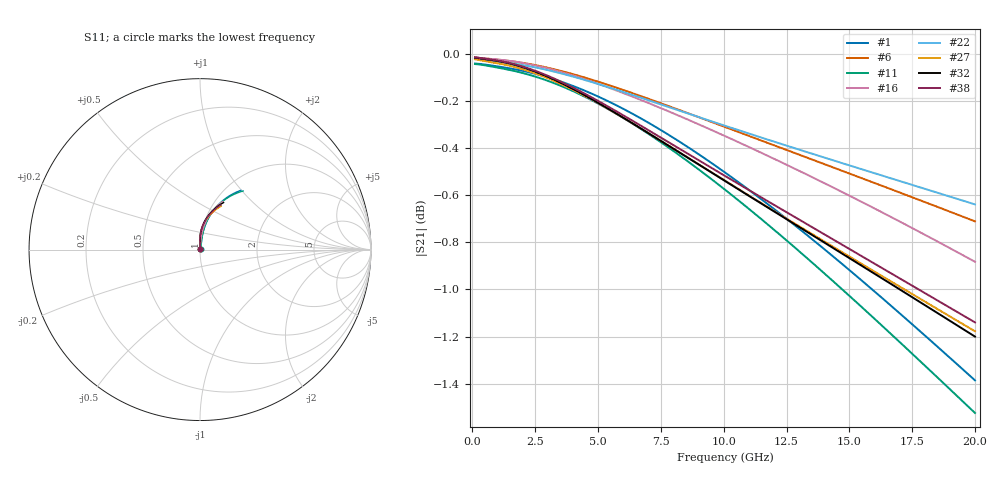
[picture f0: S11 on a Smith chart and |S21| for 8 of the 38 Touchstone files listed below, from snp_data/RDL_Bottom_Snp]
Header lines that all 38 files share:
! Touchstone file exported from HFSS 2024.1.0
!  Design:  RDL_bottom
!  Setup:  Setup1
!  Solution:  Sweep
! Variables:
# GHz S MA R 50.000000
! Terminal data exported
! Port[1] = RDL1_T1
! Port[2] = RDL1_T2
Fixed: dtsv = 10.80580581um, hbump = 3um, lrdl = 100um, p = 40, rhole = 1um, t = 450um, trdl = 3.915915916um, wrdl = 20um
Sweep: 100 MHz to 20 GHz
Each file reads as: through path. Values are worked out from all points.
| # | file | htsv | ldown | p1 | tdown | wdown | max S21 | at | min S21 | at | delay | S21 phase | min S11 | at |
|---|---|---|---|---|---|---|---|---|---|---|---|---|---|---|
| 1 | dut3.s2p | 95.61um | 477.76um | 50.18um | 2.33um | 15.85um | -0.04 dB | 100 MHz | -1.4 dB | 20 GHz | 5.32 ps | -21 deg at 10.1 GHz | -45.4 dB | 100 MHz |
| 2 | dut4.s2p | 79.47um | 307.42um | 41.59um | 4.23um | 26.47um | -0.01 dB | 100 MHz | -0.5 dB | 20 GHz | 2.68 ps | -11 deg at 10.1 GHz | -57.2 dB | 100 MHz |
| 3 | dut7.s2p | 76.53um | 291.84um | 52.63um | 4.28um | 15.7um | -0.01 dB | 100 MHz | -0.7 dB | 20 GHz | 3.41 ps | -13 deg at 10.1 GHz | -52.9 dB | 100 MHz |
| 4 | dut8.s2p | 51.77um | 590.67um | 46.14um | 3.72um | 20.41um | -0.03 dB | 100 MHz | -1.4 dB | 20 GHz | 5.59 ps | -23 deg at 10.1 GHz | -49.0 dB | 100 MHz |
| 5 | dut12.s2p | 58.84um | 289.03um | 48.35um | 3.14um | 26.82um | -0.01 dB | 100 MHz | -0.5 dB | 20 GHz | 2.84 ps | -11 deg at 10.1 GHz | -55.3 dB | 100 MHz |
| 6 | dut13.s2p | 82.07um | 397.13um | 42.22um | 3.82um | 22.02um | -0.02 dB | 100 MHz | -0.7 dB | 20 GHz | 3.71 ps | -15 deg at 10.1 GHz | -53.0 dB | 100 MHz |
| 7 | dut15.s2p | 95.03um | 154.17um | 56.61um | 3.28um | 28.14um | -0.01 dB | 100 MHz | -0.3 dB | 20 GHz | 1.86 ps | -7 deg at 10.1 GHz | -59.3 dB | 100 MHz |
| 8 | dut16.s2p | 78.53um | 683.56um | 44.62um | 4.55um | 22.1um | -0.02 dB | 100 MHz | -1.5 dB | 20 GHz | 6.12 ps | -25 deg at 10.1 GHz | -49.8 dB | 100 MHz |
| 9 | dut17.s2p | 60.17um | 460.31um | 48.93um | 3.08um | 17.78um | -0.03 dB | 100 MHz | -1.2 dB | 20 GHz | 4.86 ps | -19 deg at 10.1 GHz | -48.5 dB | 100 MHz |
| 10 | dut18.s2p | 82.72um | 359.58um | 55.38um | 4.34um | 16.92um | -0.02 dB | 100 MHz | -0.9 dB | 20 GHz | 4.09 ps | -16 deg at 10.1 GHz | -51.7 dB | 100 MHz |
| 11 | dut24.s2p | 53.6um | 545.7um | 48.59um | 2.27um | 17.66um | -0.04 dB | 100 MHz | -1.5 dB | 20 GHz | 5.71 ps | -23 deg at 10.1 GHz | -45.0 dB | 100 MHz |
| 12 | dut26.s2p | 84.31um | 597.89um | 56.9um | 3.21um | 26.65um | -0.02 dB | 100 MHz | -1.5 dB | 20 GHz | 5.9 ps | -24 deg at 10.1 GHz | -49.6 dB | 100 MHz |
| 13 | dut34.s2p | 96.11um | 388.67um | 47.12um | 4.14um | 26.48um | -0.01 dB | 100 MHz | -0.7 dB | 20 GHz | 3.61 ps | -14 deg at 10.1 GHz | -55.0 dB | 100 MHz |
| 14 | dut44.s2p | 85.36um | 638.38um | 42.18um | 2.3um | 16.31um | -0.05 dB | 100 MHz | -1.7 dB | 20 GHz | 6.31 ps | -25 deg at 10.1 GHz | -43.4 dB | 100 MHz |
| 15 | dut45.s2p | 62.92um | 485.28um | 56.4um | 3.68um | 29.08um | -0.02 dB | 100 MHz | -1.1 dB | 20 GHz | 4.69 ps | -19 deg at 10.1 GHz | -52.8 dB | 100 MHz |
| 16 | dut48.s2p | 65.89um | 411.23um | 46.72um | 4.68um | 17.75um | -0.02 dB | 100 MHz | -0.9 dB | 20 GHz | 4.16 ps | -16 deg at 10.1 GHz | -52.0 dB | 100 MHz |
| 17 | dut49.s2p | 60.55um | 380.75um | 45.45um | 4um | 10.48um | -0.03 dB | 100 MHz | -1.0 dB | 20 GHz | 4.33 ps | -17 deg at 10.1 GHz | -48.1 dB | 100 MHz |
| 18 | dut55.s2p | 82.56um | 546.64um | 46.38um | 3.95um | 29.64um | -0.02 dB | 100 MHz | -1.0 dB | 20 GHz | 4.69 ps | -19 deg at 10.1 GHz | -53.3 dB | 100 MHz |
| 19 | dut56.s2p | 61.94um | 437.84um | 54.92um | 4.92um | 28.03um | -0.01 dB | 100 MHz | -0.9 dB | 20 GHz | 4.15 ps | -17 deg at 10.1 GHz | -55.1 dB | 100 MHz |
| 20 | dut58.s2p | 55.6um | 516.64um | 59.9um | 4.48um | 15.76um | -0.02 dB | 100 MHz | -1.6 dB | 20 GHz | 5.68 ps | -23 deg at 10.1 GHz | -48.4 dB | 100 MHz |
| 21 | dut63.s2p | 92.89um | 588.78um | 45.25um | 3.76um | 12.54um | -0.04 dB | 100 MHz | -1.7 dB | 20 GHz | 6.08 ps | -24 deg at 10.1 GHz | -45.4 dB | 100 MHz |
| 22 | dut64.s2p | 61.07um | 351.51um | 45.13um | 2.25um | 27.31um | -0.02 dB | 100 MHz | -0.6 dB | 20 GHz | 3.32 ps | -13 deg at 10.1 GHz | -51.7 dB | 100 MHz |
| 23 | dut67.s2p | 84.95um | 251.61um | 53.99um | 3.01um | 22.72um | -0.01 dB | 100 MHz | -0.5 dB | 20 GHz | 2.9 ps | -11 deg at 10.1 GHz | -54.3 dB | 100 MHz |
| 24 | dut81.s2p | 95.79um | 668.72um | 40.81um | 2.28um | 18.59um | -0.05 dB | 100 MHz | -1.6 dB | 20 GHz | 6.34 ps | -25 deg at 10.1 GHz | -44.0 dB | 100 MHz |
| 25 | dut108.s2p | 95.86um | 543.12um | 43.37um | 2.71um | 28.08um | -0.02 dB | 100 MHz | -1.0 dB | 20 GHz | 4.75 ps | -19 deg at 10.1 GHz | -50.3 dB | 100 MHz |
| 26 | dut109.s2p | 90.01um | 282.17um | 50.45um | 3.92um | 20.36um | -0.01 dB | 100 MHz | -0.6 dB | 20 GHz | 3.09 ps | -12 deg at 10.1 GHz | -54.5 dB | 100 MHz |
| 27 | dut114.s2p | 86.73um | 575.56um | 47.87um | 2.98um | 28.14um | -0.02 dB | 100 MHz | -1.2 dB | 20 GHz | 5.23 ps | -21 deg at 10.1 GHz | -50.4 dB | 100 MHz |
| 28 | dut118.s2p | 67.47um | 574.4um | 40.52um | 4.89um | 18.05um | -0.02 dB | 100 MHz | -1.2 dB | 20 GHz | 5.21 ps | -21 deg at 10.1 GHz | -50.3 dB | 100 MHz |
| 29 | dut130.s2p | 70.63um | 311.89um | 40.92um | 2.86um | 10.28um | -0.03 dB | 100 MHz | -0.8 dB | 20 GHz | 3.67 ps | -14 deg at 10.1 GHz | -47.4 dB | 100 MHz |
| 30 | dut133.s2p | 64.58um | 213.08um | 59.45um | 4.48um | 29.67um | -0.01 dB | 100 MHz | -0.4 dB | 20 GHz | 2.32 ps | -9 deg at 10.1 GHz | -59.5 dB | 100 MHz |
| 31 | dut134.s2p | 94.17um | 468.27um | 49.99um | 2.26um | 23.97um | -0.03 dB | 100 MHz | -1.1 dB | 20 GHz | 4.76 ps | -19 deg at 10.1 GHz | -48.5 dB | 100 MHz |
| 32 | dut140.s2p | 86.46um | 534.35um | 54.77um | 3.9um | 28.07um | -0.02 dB | 100 MHz | -1.2 dB | 20 GHz | 5.11 ps | -21 deg at 10.1 GHz | -52.3 dB | 100 MHz |
| 33 | dut152.s2p | 68.17um | 659.29um | 47.02um | 3.84um | 21.18um | -0.03 dB | 100 MHz | -1.6 dB | 20 GHz | 6.17 ps | -25 deg at 10.1 GHz | -48.6 dB | 100 MHz |
| 34 | dut153.s2p | 83.15um | 240.71um | 59.46um | 2.56um | 13.66um | -0.02 dB | 100 MHz | -0.7 dB | 20 GHz | 3.38 ps | -13 deg at 10.1 GHz | -50.0 dB | 100 MHz |
| 35 | dut155.s2p | 89.37um | 385.25um | 43.75um | 3.48um | 13.22um | -0.03 dB | 100 MHz | -0.9 dB | 20 GHz | 4.21 ps | -16 deg at 10.1 GHz | -48.8 dB | 100 MHz |
| 36 | dut157.s2p | 50.84um | 374.99um | 53.86um | 3.71um | 28.32um | -0.01 dB | 100 MHz | -0.8 dB | 20 GHz | 3.65 ps | -15 deg at 10.1 GHz | -54.7 dB | 100 MHz |
| 37 | dut160.s2p | 89.49um | 211.21um | 46.41um | 2.27um | 12.68um | -0.02 dB | 100 MHz | -0.5 dB | 20 GHz | 2.78 ps | -11 deg at 10.1 GHz | -50.0 dB | 100 MHz |
| 38 | dut166.s2p | 99.98um | 540.88um | 52.28um | 4.57um | 27.72um | -0.02 dB | 100 MHz | -1.1 dB | 20 GHz | 5.02 ps | -20 deg at 10.1 GHz | -53.2 dB | 100 MHz |
